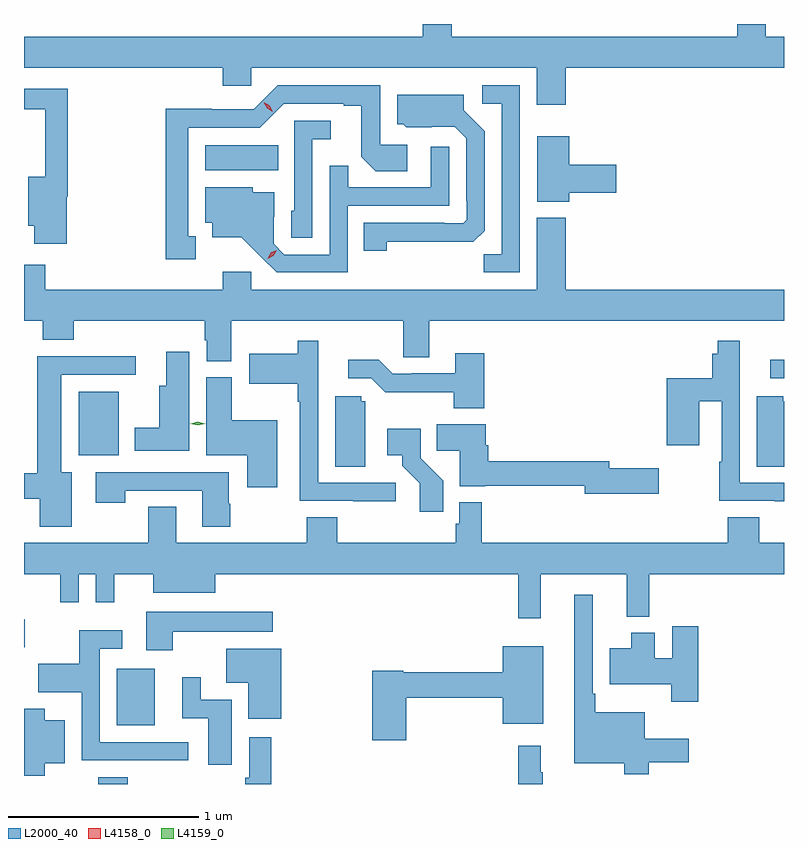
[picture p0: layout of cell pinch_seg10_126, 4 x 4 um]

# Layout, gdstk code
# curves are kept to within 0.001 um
import gdstk
lib = gdstk.Library(unit=1e-6, precision=1e-09)
def R(c, l, rs):  # rectangles x0, y0, x1, y1
    for r in rs: c.add(gdstk.rectangle(r[:2], r[2:], *l))
def P(c, l, *ps):  # polygons
    for p in ps: c.add(gdstk.Polygon(p, *l))
L2000_40 = (2000, 40)
L4158_0 = (4158, 0)
L4159_0 = (4159, 0)

pinch_seg10_126 = lib.new_cell('pinch_seg10_126')
R(pinch_seg10_126, L2000_40, [(711.791,1279.231,711.944,1279.267), (711.887,1279.541,712.087,1279.837), (711.399,1279.951,711.403,1280.099), (711.686,1280.96,711.898,1281.295), (715.326,1281.366,715.399,1281.463), (712.352,1282.46,712.736,1282.594)])
P(pinch_seg10_126, L2000_40, [(714.251,1283),(715.399,1283),(715.399,1283.164),(715.304,1283.164),(715.304,1283.231),(715.152,1283.231),(715.152,1283.164),(713.65,1283.164),(713.65,1283.231),(713.498,1283.231),(713.498,1283.164),(711.399,1283.164),(711.399,1283),(712.445,1283),(712.445,1282.907),(712.596,1282.907),(712.596,1283),(714.098,1283),(714.098,1282.806),(714.251,1282.806)],
  [(714.009,1282.908),(713.811,1282.908),(713.811,1282.812),(713.913,1282.812),(713.913,1282.019),(713.818,1282.019),(713.818,1281.924),(714.009,1281.924)],
  [(712.303,1282.113),(712.264,1282.113),(712.264,1282.686),(712.641,1282.686),(712.767,1282.812),(713.081,1282.812),(713.081,1282.8),(713.175,1282.8),(713.175,1282.532),(713.251,1282.456),(713.416,1282.456),(713.416,1282.596),(713.274,1282.596),(713.274,1282.908),(712.734,1282.908),(712.608,1282.782),(712.386,1282.782),(712.386,1282.784),(712.146,1282.784),(712.146,1281.993),(712.303,1281.993)],
  [(711.623,1282.322),(711.629,1282.322),(711.629,1282.89),(711.399,1282.89),(711.399,1282.782),(711.512,1282.782),(711.512,1282.426),(711.422,1282.426),(711.422,1282.169),(711.452,1282.169),(711.452,1282.074),(711.623,1282.074)],
  [(713.307,1282.084),(713.764,1282.085),(713.823,1282.144),(713.823,1282.666),(713.713,1282.776),(713.713,1282.858),(713.363,1282.858),(713.363,1282.704),(713.394,1282.704),(713.41,1282.688),(713.667,1282.689),(713.727,1282.629),(713.727,1282.3),(713.73,1282.3),(713.73,1282.2),(713.712,1282.182),(713.612,1282.182),(713.612,1282.185),(713.188,1282.185),(713.188,1282.038),(713.307,1282.038)],
  [(712.917,1282.625),(713.014,1282.625),(713.014,1282.722),(712.821,1282.722),(712.821,1282.248),(712.806,1282.248),(712.806,1282.105),(712.917,1282.105)],
  [(714.268,1282.343),(714.517,1282.343),(714.517,1282.49),(714.268,1282.49),(714.268,1282.639),(714.101,1282.639),(714.101,1282.295),(714.268,1282.295)],
  [(713.103,1282.275),(713.637,1282.275),(713.637,1282.585),(713.541,1282.585),(713.541,1282.371),(713.105,1282.371),(713.105,1282.484),(713.007,1282.484),(713.007,1282.017),(712.77,1282.017),(712.713,1282.074),(712.713,1282.216),(712.717,1282.216),(712.717,1282.345),(712.602,1282.345),(712.602,1282.372),(712.352,1282.372),(712.352,1282.185),(712.391,1282.185),(712.391,1282.109),(712.543,1282.109),(712.73,1281.924),(713.103,1281.924)],
  [(712.489,1281.668),(713.394,1281.668),(713.394,1281.478),(713.533,1281.478),(713.533,1281.668),(715.399,1281.668),(715.399,1281.832),(714.251,1281.832),(714.251,1282.21),(714.098,1282.21),(714.098,1281.832),(712.596,1281.832),(712.596,1281.928),(712.445,1281.928),(712.445,1281.832),(711.512,1281.832),(711.512,1281.964),(711.399,1281.964),(711.399,1281.668),(711.497,1281.668),(711.497,1281.569),(711.662,1281.569),(711.662,1281.668),(712.349,1281.668),(712.349,1281.567),(712.361,1281.567),(712.361,1281.457),(712.489,1281.457)],
  [(715.399,1280.817),(715.167,1280.817),(715.167,1281.565),(715.051,1281.565),(715.051,1281.496),(715.022,1281.496),(715.022,1281.367),(714.782,1281.367),(714.782,1281.015),(714.952,1281.015),(714.952,1281.245),(715.071,1281.245),(715.071,1280.927),(715.059,1280.927),(715.059,1280.721),(715.351,1280.721),(715.351,1280.719),(715.399,1280.719)],
  [(713.356,1280.817),(712.947,1280.817),(712.947,1281.342),(712.948,1281.342),(712.948,1281.565),(712.839,1281.565),(712.839,1281.496),(712.584,1281.496),(712.584,1281.338),(712.839,1281.338),(712.839,1281.242),(712.851,1281.242),(712.851,1280.721),(713.131,1280.721),(713.131,1280.719),(713.356,1280.719)],
  [(712.27,1281.505),(712.148,1281.505),(712.148,1281.328),(712.112,1281.328),(712.112,1281.106),(711.983,1281.106),(711.983,1280.984),(712.27,1280.984)],
  [(713.822,1281.499),(713.669,1281.499),(713.669,1281.393),(713.44,1281.393),(713.44,1281.39),(713.34,1281.39),(713.267,1281.463),(713.106,1281.463),(713.106,1281.366),(713.226,1281.366),(713.299,1281.293),(713.662,1281.294),(713.662,1281.209),(713.822,1281.209)],
  [(711.649,1280.872),(711.595,1280.872),(711.595,1281.384),(711.988,1281.384),(711.988,1281.482),(711.47,1281.482),(711.47,1280.867),(711.399,1280.867),(711.399,1280.732),(711.482,1280.732),(711.482,1280.586),(711.649,1280.586)],
  [(712.732,1281.145),(712.492,1281.145),(712.492,1281.372),(712.358,1281.372),(712.358,1280.96),(712.574,1280.96),(712.574,1280.793),(712.732,1280.793)],
  [(713.194,1281.246),(713.175,1281.246),(713.175,1281.273),(713.036,1281.273),(713.036,1280.902),(713.194,1280.902)],
  [(715.399,1281.246),(715.395,1281.246),(715.395,1281.273),(715.256,1281.273),(715.256,1280.902),(715.399,1280.902)],
  [(714.739,1280.894),(714.478,1280.894),(714.478,1280.93),(713.843,1280.93),(713.843,1281.014),(713.83,1281.014),(713.83,1281.124),(713.572,1281.124),(713.572,1280.986),(713.693,1280.986),(713.693,1280.798),(713.826,1280.798),(713.826,1280.802),(714.35,1280.802),(714.35,1280.759),(714.739,1280.759)],
  [(713.606,1280.826),(713.487,1280.945),(713.487,1281.1),(713.31,1281.1),(713.31,1280.96),(713.39,1280.96),(713.39,1280.905),(713.481,1280.815),(713.481,1280.664),(713.606,1280.664)],
  [(712.485,1280.705),(712.477,1280.705),(712.477,1280.871),(711.777,1280.871),(711.777,1280.712),(711.933,1280.712),(711.933,1280.775),(712.337,1280.775),(712.337,1280.586),(712.485,1280.586)],
  [(711.399,1280.336),(711.59,1280.336),(711.59,1280.187),(711.687,1280.187),(711.687,1280.336),(711.777,1280.336),(711.777,1280.187),(711.875,1280.187),(711.875,1280.336),(712.079,1280.336),(712.079,1280.237),(712.405,1280.237),(712.405,1280.336),(714.001,1280.336),(714.001,1280.103),(714.119,1280.103),(714.119,1280.336),(714.572,1280.336),(714.572,1280.111),(714.689,1280.111),(714.689,1280.336),(715.399,1280.336),(715.399,1280.5),(715.268,1280.5),(715.268,1280.636),(715.103,1280.636),(715.103,1280.5),(713.807,1280.5),(713.807,1280.713),(713.691,1280.713),(713.691,1280.601),(713.671,1280.601),(713.671,1280.5),(713.048,1280.5),(713.048,1280.636),(712.888,1280.636),(712.888,1280.5),(712.201,1280.5),(712.201,1280.69),(712.054,1280.69),(712.054,1280.5),(711.399,1280.5)],
  [(714.686,1279.346),(714.898,1279.346),(714.898,1279.468),(714.667,1279.468),(714.667,1279.609),(714.406,1279.609),(714.406,1279.705),(714.393,1279.705),(714.393,1280.227),(714.296,1280.227),(714.296,1279.34),(714.558,1279.34),(714.558,1279.283),(714.686,1279.283)],
  [(712.183,1280.033),(712.708,1280.033),(712.708,1280.137),(712.043,1280.137),(712.043,1279.935),(712.183,1279.935)],
  [(714.947,1280.062),(714.812,1280.062),(714.812,1279.893),(714.718,1279.893),(714.718,1280.026),(714.596,1280.026),(714.596,1279.945),(714.482,1279.945),(714.482,1279.757),(714.805,1279.757),(714.805,1279.665),(714.947,1279.665)],
  [(712.264,1279.452),(711.798,1279.452),(711.798,1279.944),(711.916,1279.944),(711.916,1280.041),(711.69,1280.041),(711.69,1279.863),(711.475,1279.863),(711.475,1279.715),(711.702,1279.715),(711.702,1279.356),(712.027,1279.356),(712.027,1279.355),(712.264,1279.355)],
  [(713.411,1279.684),(713.918,1279.684),(713.918,1279.547),(714.133,1279.547),(714.133,1279.957),(713.918,1279.957),(713.918,1279.82),(713.394,1279.82),(713.394,1279.828),(713.233,1279.828),(713.233,1279.461),(713.411,1279.461)],
  [(712.753,1279.942),(712.463,1279.942),(712.463,1279.763),(712.58,1279.763),(712.58,1279.574),(712.753,1279.574)],
  [(712.492,1279.674),(712.33,1279.674),(712.33,1279.792),(712.232,1279.792),(712.232,1279.578),(712.37,1279.578),(712.37,1279.332),(712.492,1279.332)],
  [(711.508,1279.34),(711.613,1279.34),(711.613,1279.567),(711.508,1279.567),(711.508,1279.627),(711.399,1279.627),(711.399,1279.275),(711.508,1279.275)],
  [(712.7,1279.477),(712.584,1279.477),(712.584,1279.264),(712.564,1279.264),(712.564,1279.231),(712.7,1279.231)],
  [(714.13,1279.292),(714.118,1279.292),(714.118,1279.432),(714.001,1279.432),(714.001,1279.231),(714.13,1279.231)])
P(pinch_seg10_126, L4158_0, [(712.682,1281.995),(712.682,1281.996),(712.698,1282.026),(712.729,1282.041),(712.729,1282.041),(712.729,1282.041),(712.712,1282.011),(712.682,1281.995)],
  [(712.709,1282.768),(712.678,1282.787),(712.661,1282.82),(712.661,1282.82),(712.661,1282.82),(712.692,1282.801),(712.709,1282.768),(712.709,1282.768)])
P(pinch_seg10_126, L4159_0, [(712.314,1281.118),(712.274,1281.127),(712.274,1281.128),(712.274,1281.128),(712.314,1281.138),(712.354,1281.128),(712.354,1281.128),(712.354,1281.127)])

lib.write_gds('pinch_seg10_126.gds')
